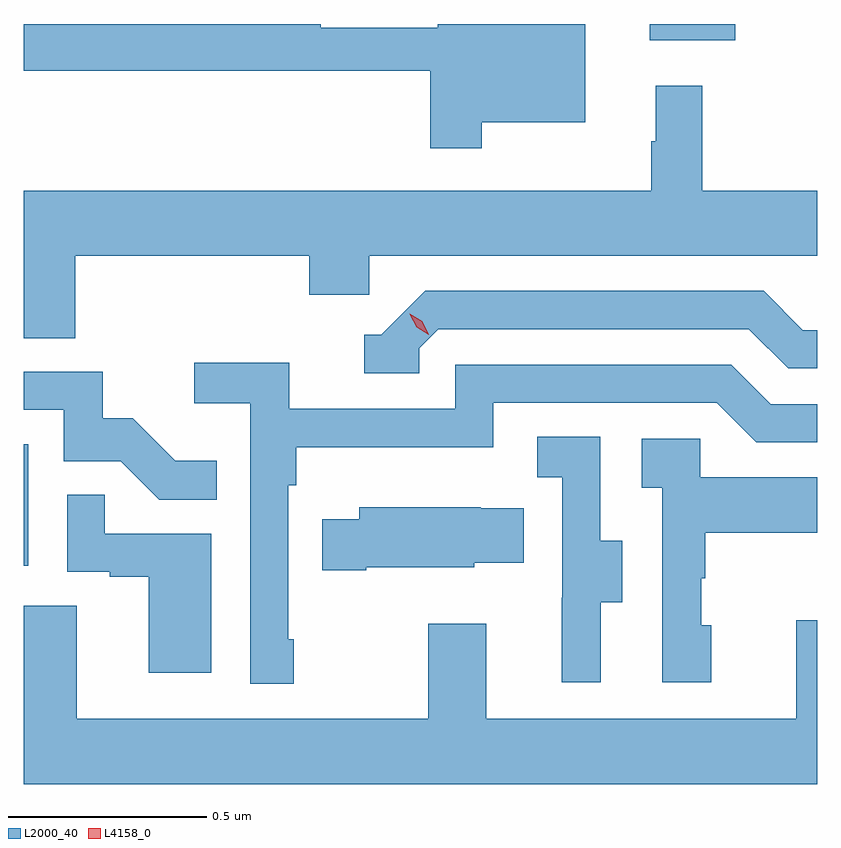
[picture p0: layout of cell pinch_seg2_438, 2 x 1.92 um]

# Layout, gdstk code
import gdstk
lib = gdstk.Library(unit=1e-6, precision=1e-09)
def R(c, l, rs):  # rectangles x0, y0, x1, y1
    for r in rs: c.add(gdstk.rectangle(r[:2], r[2:], *l))
def P(c, l, *ps):  # polygons
    for p in ps: c.add(gdstk.Polygon(p, *l))
L2000_40 = (2000, 40)
L4158_0 = (4158, 0)

pinch_seg2_438 = lib.new_cell('pinch_seg2_438')
R(pinch_seg2_438, L2000_40, [(936.257,620.214,936.268,620.521), (937.835,621.539,938.05,621.58)])
P(pinch_seg2_438, L2000_40, [(937.411,621.332),(937.672,621.332),(937.672,621.58),(937.301,621.58),(937.301,621.571),(937.005,621.571),(937.005,621.58),(936.257,621.58),(936.257,621.462),(937.282,621.462),(937.282,621.267),(937.411,621.267)],
  [(936.386,620.996),(936.977,620.996),(936.977,620.898),(937.128,620.898),(937.128,620.996),(938.257,620.996),(938.257,621.16),(937.967,621.16),(937.967,621.424),(937.85,621.424),(937.85,621.284),(937.839,621.284),(937.839,621.16),(936.257,621.16),(936.257,620.788),(936.386,620.788)],
  [(937.254,620.763),(937.302,620.811),(938.085,620.811),(938.184,620.712),(938.257,620.712),(938.257,620.808),(938.221,620.808),(938.122,620.907),(937.269,620.907),(937.158,620.796),(937.115,620.796),(937.115,620.7),(937.254,620.7)],
  [(936.937,620.029),(936.924,620.029),(936.924,620.417),(936.944,620.417),(936.944,620.513),(937.44,620.513),(937.44,620.625),(938.004,620.625),(938.103,620.526),(938.257,620.526),(938.257,620.622),(938.14,620.622),(938.041,620.721),(937.344,620.721),(937.344,620.61),(936.926,620.61),(936.926,620.726),(936.687,620.726),(936.687,620.624),(936.828,620.624),(936.828,619.917),(936.937,619.917)],
  [(936.743,620.479),(936.639,620.479),(936.532,620.586),(936.456,620.586),(936.456,620.703),(936.257,620.703),(936.257,620.607),(936.357,620.607),(936.357,620.478),(936.501,620.478),(936.599,620.38),(936.743,620.38)],
  [(937.711,620.122),(937.765,620.122),(937.765,620.277),(937.71,620.277),(937.71,620.54),(937.551,620.54),(937.551,620.437),(937.614,620.437),(937.614,620.133),(937.613,620.133),(937.613,619.92),(937.711,619.92)],
  [(937.99,620.064),(937.965,620.064),(937.965,620.183),(937.975,620.183),(937.975,620.297),(938.257,620.297),(938.257,620.437),(937.962,620.437),(937.962,620.535),(937.815,620.535),(937.815,620.411),(937.866,620.411),(937.866,619.92),(937.99,619.92)],
  [(936.73,620.295),(936.461,620.295),(936.461,620.393),(936.366,620.393),(936.366,620.199),(936.473,620.199),(936.473,620.187),(936.572,620.187),(936.572,619.944),(936.73,619.944)],
  [(937.12,620.21),(937.392,620.21),(937.392,620.222),(937.517,620.222),(937.517,620.359),(937.409,620.359),(937.409,620.362),(937.103,620.362),(937.103,620.332),(937.009,620.332),(937.009,620.203),(937.12,620.203)],
  [(938.257,620.077),(938.204,620.077),(938.204,619.828),(937.423,619.828),(937.423,620.068),(937.276,620.068),(937.276,619.828),(936.391,619.828),(936.391,620.114),(936.257,620.114),(936.257,619.664),(938.257,619.664)])
P(pinch_seg2_438, L4158_0, [(937.278,620.797),(937.247,620.816),(937.23,620.848),(937.23,620.849),(937.23,620.849),(937.262,620.83),(937.278,620.797),(937.278,620.797)])

lib.write_gds('pinch_seg2_438.gds')
